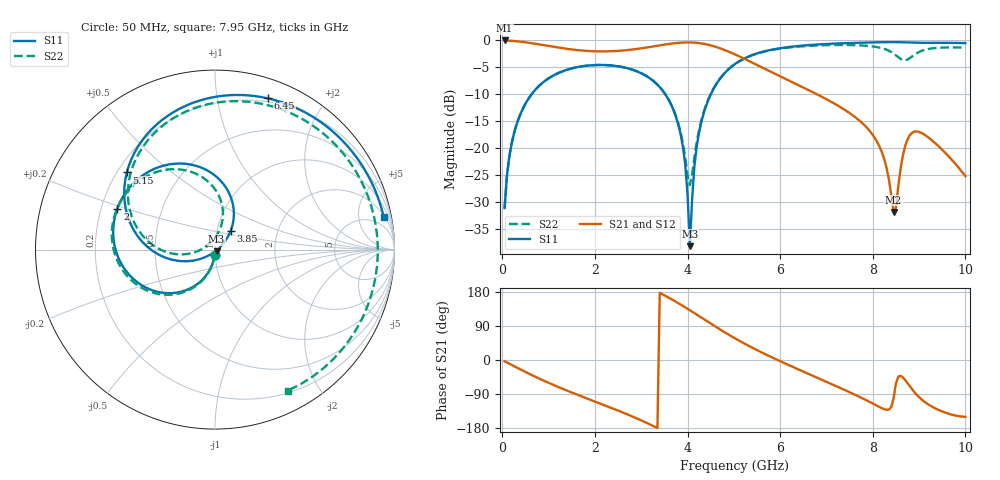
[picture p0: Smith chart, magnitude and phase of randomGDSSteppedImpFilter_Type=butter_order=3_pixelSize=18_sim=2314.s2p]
! freq	dB(S11)	phase(S11)	dB(S12)	phase(S12)
!  dB(S21)	phase(S21)	dB(S22)	phase(S22)
!S-par simulation data
#  GHz  S  DB  R 50
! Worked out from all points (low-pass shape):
!   200 points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, 50 MHz to 10 GHz, reference 50 ohm
!   highest |S21| = -0.01 dB at 50 MHz (marker M1); lowest = -31.9 dB at 8.45 GHz (marker M2)
!   |S21| within 3 dB of the highest: start of sweep to 5.127 GHz
!   lowest |S11| = -38.3 dB at 4.05 GHz (marker M3), VSWR 1.02, Z = 50.8 - j0.902 ohm
!   |S11| at or under -10 dB: start of sweep to 634.7 MHz; 3.518 GHz to 4.503 GHz (985.2 MHz wide, 24.6 % of centre)
!   |S22| runs from -31.2 to -0.8 dB; largest |S21 - S12| = 0
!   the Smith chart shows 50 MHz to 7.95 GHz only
!   S11 on the Smith chart (normalised r, x): 50 MHz: 1.00, -0.06; 2 GHz: 0.27, +0.19; 3.85 GHz: 1.16, +0.24; 5.15 GHz: 0.24, +0.36; 6.45 GHz: 0.17, +1.39; 7.95 GHz: 2, +10
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0.05  -31.16 -93.4  -0.01 -3.3  -0.01 -3.3  -31.16 -93.3
0.5  -11.77 -122.8  -0.34 -31.5  -0.34 -31.5  -11.77 -121.4
1.75  -4.78 169.3  -1.90 -97.8  -1.90 -97.8  -4.77 174.1
2  -4.58 157.2  -2.02 -109.6  -2.02 -109.6  -4.58 162.7
3.4  -8.68 82.6  -0.92 177.2  -0.92 177.2  -8.66 94.1
3.85  -17.42 49.8  -0.42 146.4  -0.42 146.4  -17.09 75.4
4.05  -38.26 -46.5  -0.37 131.3  -0.37 131.3  -26.91 131.8
4.15  -23.23 -142.4  -0.41 123.6  -0.41 123.6  -21.63 -178.3
4.3  -15.10 -158.2  -0.56 111.8  -0.56 111.8  -14.79 -171.6
5.05  -4.24 145.3  -2.70 55.4  -2.70 55.4  -4.24 141.4
5.15  -3.71 138.8  -3.10 48.6  -3.10 48.6  -3.72 134.6
6.45  -0.99 70.8  -8.55 -27.8  -8.55 -27.8  -1.11 51.9
6.7  -0.82 59.9  -9.61 -41.3  -9.61 -41.3  -0.98 35.7
7.4  -0.51 31.5  -12.93 -79.4  -12.93 -79.4  -0.85 -13.4
7.95  -0.38 10.8  -17.01 -111.7  -17.01 -111.7  -1.07 -62.7
8.35  -0.32 -3.6  -25.94 -130.7  -25.94 -130.7  -1.93 -123.7
8.45  -0.31 -7.2  -31.90 -100.4  -31.90 -100.4  -2.45 -149.4
8.6  -0.34 -12.5  -23.87 -41.7  -23.87 -41.7  -3.43 156.0
8.75  -0.39 -17.5  -18.41 -61.0  -18.41 -61.0  -3.56 86.4
9  -0.43 -25.3  -17.01 -98.0  -17.01 -98.0  -2.14 1.4
9.4  -0.44 -37.6  -19.52 -130.7  -19.52 -130.7  -1.38 -62.0
10  -0.49 -55.7  -25.25 -149.9  -25.25 -149.9  -1.33 -115.5
